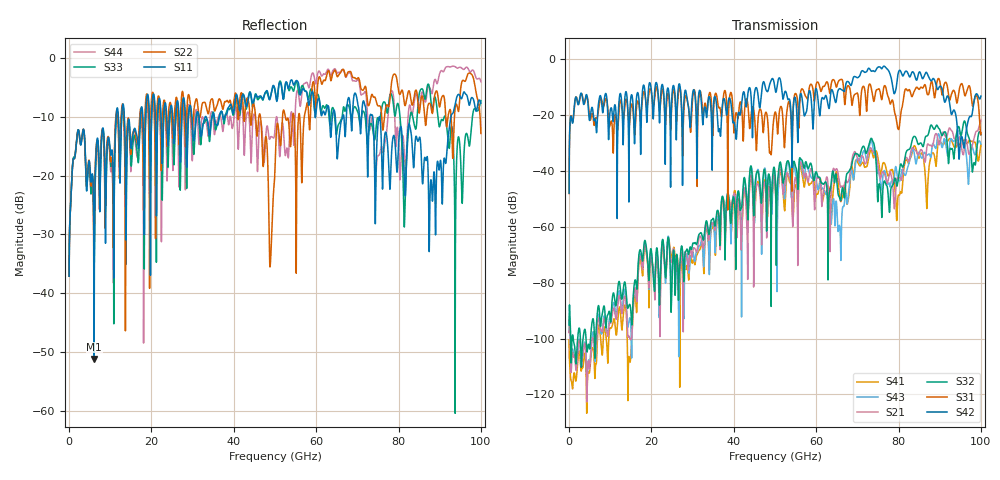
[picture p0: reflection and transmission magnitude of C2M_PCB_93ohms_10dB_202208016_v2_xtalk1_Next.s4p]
! Info: Touchstone file created by Circ.  Input file=Intel_C2M_200G_1p5in_202208016_staggered.circ
# Hz S RI R 50
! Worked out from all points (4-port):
!   10000 points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, 10 MHz to 100 GHz, reference 50 ohm
!   strongest paths, dB at 10 MHz, 25.01 GHz, 50.01 GHz, 75.01 GHz, 100 GHz:
!     S42: -48.1, -12.4, -10.7, -3.0, -13.4
!     S31: -48.2, -15.1, -19.2, -10.9, -26.4
!     S32: -95.2, -80.5, -41.4, -50.2, -27.2
!     S21: -97.6, -72.2, -45.0, -38.2, -22.0
!     S43: -97.1, -77.5, -41.3, -41.1, -30.6
!     S41: -100.5, -71.4, -44.6, -35.5, -30.8
!   lowest |S11| = -51.1 dB at 6.09 GHz (marker M1), VSWR 1.01, Z = 50 + j0.277 ohm
!   |S11| at or under -10 dB: start of sweep to 11.42 GHz; 13.41 GHz to 17.28 GHz (3.87 GHz wide, 25.2 % of centre); 73.74 GHz to 92.72 GHz (18.98 GHz wide, 22.8 % of centre)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
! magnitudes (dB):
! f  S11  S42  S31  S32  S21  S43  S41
! 10 MHz  -37.1  -48.1  -48.2  -95.2  -97.6  -97.1  -100.5
! 6.09 GHz  -51.1  -22.2  -23.9  -96.7  -103.0  -100.2  -107.7
! 44.21 GHz  -6.4  -13.8  -19.9  -38.5  -41.8  -38.4  -41.8
! 48.98 GHz  -6.5  -8.1  -34.0  -53.4  -53.2  -45.3  -50.0
! 65.69 GHz  -12.8  -10.7  -7.6  -49.7  -44.3  -59.7  -48.7
! 73.28 GHz  -9.6  -4.3  -9.8  -28.6  -31.9  -29.3  -32.7
! 100 GHz  -7.7  -13.4  -26.4  -27.2  -22.0  -30.6  -30.8
